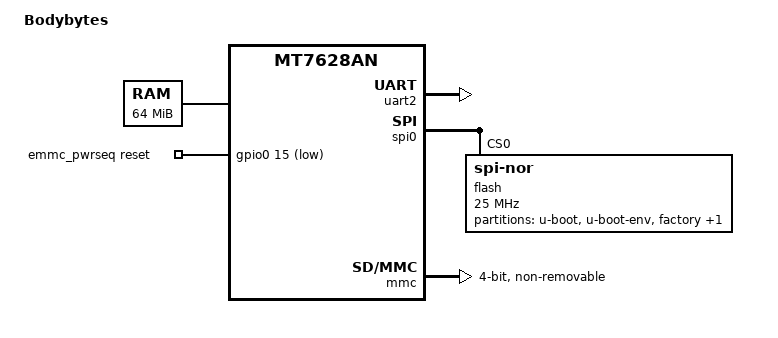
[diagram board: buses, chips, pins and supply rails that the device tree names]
/dts-v1/;

#include "mt7628a.dtsi"
#include <dt-bindings/gpio/gpio.h>

/ {
	compatible = "bodybytes,bodybytes", "mediatek,mt7628an-soc";
	model = "Bodybytes";

	memory@0 {
		device_type = "memory";
		reg = <0x00000000 0x04000000>;
	};

	aliases {
		serial2 = &uart2;
		spi0 = &spi0;
	};

	chosen {
		stdout-path = &uart2;
	};
};

&pinctrl {
	/*
	 *  mdi_p1_gpio:   MDI P1 pads → GPIO (hall sensor + eMMC RST_n)
	 *  ephy_iot_mode: all four EPHY groups → digital (required for MSDC CLK/CMD path)
	 */
	pinctrl-0 = <&state_default &mdi_p1_gpio &ephy_iot_mode>;

	mdi_p1_gpio: mdi_p1_gpio {
		groups = "spis";
		function = "gpio";
	};
};

&uart0 {
	status = "disabled";
};

&uart1 {
	status = "disabled";
};

&eth {
	status = "disabled";
};

&usb_phy {
	status = "disabled";
};

&uart2 {
	status = "okay";
};

&spi0 {
	status = "okay";
	num-cs = <2>;

	flash@0 {
		compatible = "jedec,spi-nor";
		spi-max-frequency = <25000000>;
		reg = <0>;

		partitions {
			compatible = "fixed-partitions";
			#address-cells = <1>;
			#size-cells = <1>;

			partition@0 {
				label = "u-boot";
				reg = <0x000000 0x040000>;
				read-only;
			};

			partition@40000 {
				label = "u-boot-env";
				reg = <0x040000 0x010000>;
			};

			partition@50000 {
				label = "factory";
				reg = <0x050000 0x010000>;
				read-only;
			};

			partition@60000 {
				label = "recovery";
				reg = <0x060000 0x3fa0000>;
				read-only;
			};
		};
	};
};

/ {
	emmc_pwrseq: emmc-pwrseq {
		compatible = "mmc-pwrseq-emmc";
		reset-gpios = <&gpio0 15 GPIO_ACTIVE_LOW>;
	};
};

&mmc {
	status = "okay";

	pinctrl-names = "default";
	pinctrl-0 = <&sd_iot_mode>;

	max-frequency = <1000000>;
	/* max-frequency = <48000000>; cap-sd-highspeed; cap-mmc-highspeed; */

	bus-width = <4>;
	no-1-8-v;
	non-removable;
	builtin-cd = <0>;
	mmc-pwrseq = <&emmc_pwrseq>;
};
